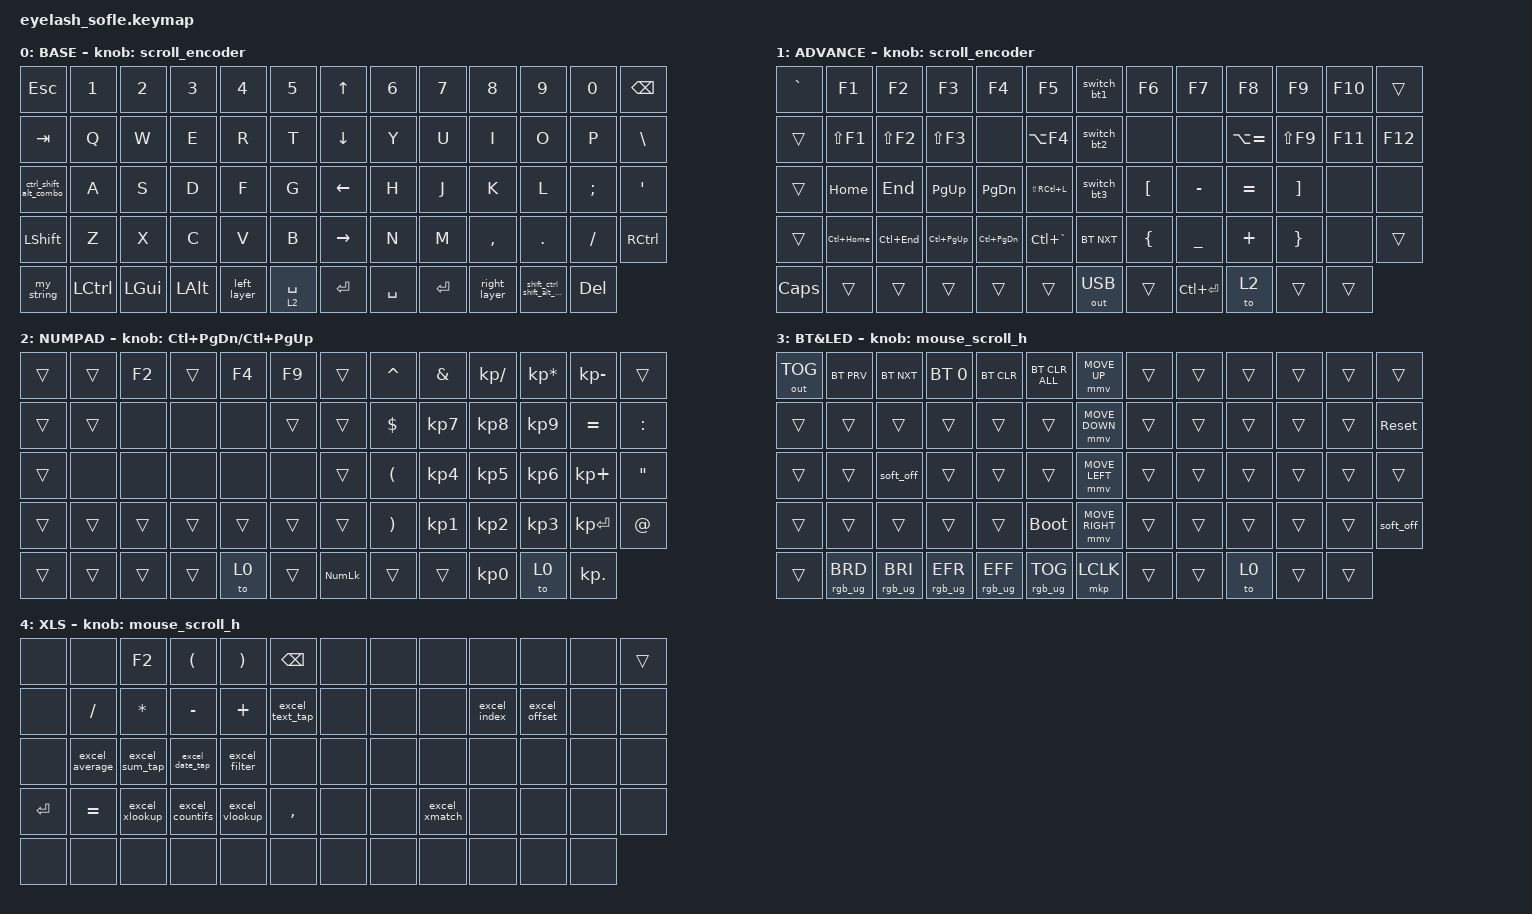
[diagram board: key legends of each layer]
#define ZMK_POINTING_DEFAULT_MOVE_VAL 1200  // 600
#define ZMK_POINTING_DEFAULT_SCRL_VAL 64   // 10

#include <input/processors.dtsi>
#include <zephyr/dt-bindings/input/input-event-codes.h>
#include <behaviors.dtsi>
#include <dt-bindings/zmk/bt.h>
#include <dt-bindings/zmk/keys.h>
#include <dt-bindings/zmk/outputs.h>
#include <dt-bindings/zmk/pointing.h>
#include <dt-bindings/zmk/rgb.h>

&mmv_input_listener { input-processors = <&zip_xy_scaler 2 1>; };

// 不用 scaler，直接发送原始值
// &msc_input_listener { input-processors = <&zip_scroll_scaler 1 1>; };

&msc {
    acceleration-exponent = <0>;      // 0
    time-to-max-speed-ms = <0>;       // 300
    delay-ms = <0>;                   // 0
    trigger-period-ms = <816>;
};

&mmv {
    time-to-max-speed-ms = <500>;
    acceleration-exponent = <1>;
    trigger-period-ms = <16>;
};

&soft_off { hold-time-ms = <2000>; };

/ {
    scroll_encoder: scroll_encoder {
        compatible = "zmk,behavior-sensor-rotate";
        #sensor-binding-cells = <0>;
        bindings = <&msc SCRL_DOWN>, <&msc SCRL_UP>;

        tap-ms = <32>;
        label = "scroll_v";
    };

    mouse_scroll_h: mouse_scroll_h {
        compatible = "zmk,behavior-sensor-rotate";
        label = "MOUSE_SCROLL_H";
        #sensor-binding-cells = <0>;
        bindings = <&msc SCRL_RIGHT>, <&msc SCRL_LEFT>;

        tap-ms = <32>;
    };

    right_layer: right_layer {
        compatible = "zmk,behavior-tap-dance";
        label = "RIGHT_LAYER";
        #binding-cells = <0>;
        bindings = <&mo 1>, <&mo 3>, <&toggle_my_computer>;

        tapping-term-ms = <400>;
    };

    ctrl_shift_alt_combo: ctrl_shift_alt_combo {
        compatible = "zmk,behavior-tap-dance";
        label = "CTRL_SHIFT_ALT_COMBO";
        #binding-cells = <0>;
        bindings = <&kp LC(LSHFT)>, <&kp LC(LEFT_ALT)>, <&kp LC(LA(LSHFT))>;

        tapping-term-ms = <400>;
    };

    left_layer: left_layer {
        compatible = "zmk,behavior-tap-dance";
        label = "LEFT_LAYER";
        #binding-cells = <0>;
        bindings = <&mo 1>, <&mo 4>, <&toggle_my_computer>;

        tapping-term-ms = <400>;
    };

    shift_ctrl_shift_alt_combo: shift_ctrl_shift_alt_combo {
        compatible = "zmk,behavior-tap-dance";
        label = "SHIFT_CTRL_SHIFT_ALT_COMBO";
        #binding-cells = <0>;
        bindings = <&kp RIGHT_SHIFT>, <&kp LC(LEFT_ALT)>, <&kp LC(LA(LSHFT))>;

        tapping-term-ms = <400>;
    };

    excel_date_tap: excel_date_tap {
        compatible = "zmk,behavior-tap-dance";
        label = "EXCEL_DATE_TAP";
        #binding-cells = <0>;
        bindings = <&excel_date>, <&excel_year>, <&excel_month>, <&excel_day>;

        tapping-term-ms = <400>;
    };

    excel_sum_tap: excel_sum_tap {
        compatible = "zmk,behavior-tap-dance";
        label = "EXCEL_SUM_TAP";
        #binding-cells = <0>;
        bindings = <&excel_sumifs>, <&excel_sumproduct>;

        tapping-term-ms = <400>;
    };

    excel_text_tap: excel_text_tap {
        compatible = "zmk,behavior-tap-dance";
        label = "EXCEL_TEXT_TAP";
        #binding-cells = <0>;
        bindings = <&excel_text>, <&excel_textjoin>, <&excel_textsplit>;

        tapping-term-ms = <350>;
    };

    behaviors {
    };

    combos {
        compatible = "zmk,combos";

        softoff {
            bindings = <&soft_off>;
            key-positions = <14 28 40>;
        };
    };

    macros {
        toggle_my_computer: toggle_my_computer {
            compatible = "zmk,behavior-macro";
            #binding-cells = <0>;
            bindings =
                <&kp LA(LS(LC(BACKSLASH)))>,
                <&macro_wait_time 300>,
                <&out OUT_TOG>;

            label = "TOGGLE_MY_COMPUTER";
        };

        my_string: pi_value {
            compatible = "zmk,behavior-macro";
            #binding-cells = <0>;
            bindings =
                <&kp Z &kp S &kp D &kp C &kp X &kp DOT &kp N1 &kp N2 &kp N1>,
                <&macro_wait_time 50>,
                <&kp ENTER>;

            label = "PI_VALUE";
        };

        switch_bt1: switch_bt1 {
            compatible = "zmk,behavior-macro";
            #binding-cells = <0>;
            bindings = <&bt BT_SEL 0 &out OUT_BLE>;
            label = "SWITCH_BT1";
        };

        switch_bt2: switch_bt2 {
            compatible = "zmk,behavior-macro";
            #binding-cells = <0>;
            bindings = <&bt BT_SEL 1 &out OUT_BLE>;
            label = "SWITCH_BT2";
        };

        switch_bt3: switch_bt3 {
            compatible = "zmk,behavior-macro";
            #binding-cells = <0>;
            bindings = <&bt BT_SEL 2 &out OUT_BLE>;
            label = "SWITCH_BT3";
        };

        excel_offset: excel_offset {
            compatible = "zmk,behavior-macro";
            #binding-cells = <0>;
            bindings = <&kp O &kp F &kp F &kp S &kp E &kp T &kp LPAR>;
            label = "EXCEL_OFFSET";
        };

        excel_sumifs: excel_sumifs {
            compatible = "zmk,behavior-macro";
            #binding-cells = <0>;
            bindings = <&kp S &kp U &kp M &kp I &kp F &kp S &kp LPAR>;
            label = "EXCEL_SUMIFS";
        };

        excel_countifs: excel_countifs {
            compatible = "zmk,behavior-macro";
            #binding-cells = <0>;
            bindings = <&kp C &kp O &kp U &kp N &kp T &kp I &kp F &kp S &kp LPAR>;
            label = "EXCEL_COUNTIFS";
        };

        excel_xmatch: excel_xmatch {
            compatible = "zmk,behavior-macro";
            #binding-cells = <0>;
            bindings = <&kp X &kp M &kp A &kp T &kp C &kp H &kp LPAR>;
            label = "EXCEL_XMATCH";
        };

        excel_vlookup: excel_vlookup {
            compatible = "zmk,behavior-macro";
            #binding-cells = <0>;
            bindings = <&kp V &kp L &kp O &kp O &kp K &kp U &kp P &kp LPAR>;
            label = "EXCEL_VLOOKUP";
        };

        excel_xlookup: excel_xlookup {
            compatible = "zmk,behavior-macro";
            #binding-cells = <0>;
            bindings = <&kp X &kp L &kp O &kp O &kp K &kp U &kp P &kp LPAR>;
            label = "EXCEL_XLOOKUP";
        };

        excel_text: excel_text {
            compatible = "zmk,behavior-macro";
            #binding-cells = <0>;
            bindings = <&kp T &kp E &kp X &kp T &kp LPAR>;
            label = "EXCEL_TEXT";
        };

        excel_textjoin: excel_textjoin {
            compatible = "zmk,behavior-macro";
            #binding-cells = <0>;
            bindings = <&kp T &kp E &kp X &kp T &kp J &kp O &kp I &kp N &kp LPAR>;
            label = "EXCEL_TEXTJOIN";
        };

        excel_date: excel_date {
            compatible = "zmk,behavior-macro";
            #binding-cells = <0>;
            bindings = <&kp D &kp A &kp T &kp E &kp LPAR>;
            label = "EXCEL_DATE";
        };

        excel_year: excel_year {
            compatible = "zmk,behavior-macro";
            #binding-cells = <0>;
            bindings = <&kp Y &kp E &kp A &kp R &kp LPAR>;
            label = "EXCEL_YEAR";
        };

        excel_month: excel_month {
            compatible = "zmk,behavior-macro";
            #binding-cells = <0>;
            bindings = <&kp M &kp O &kp N &kp T &kp H &kp LPAR>;
            label = "EXCEL_MONTH";
        };

        excel_day: excel_day {
            compatible = "zmk,behavior-macro";
            #binding-cells = <0>;
            bindings = <&kp D &kp A &kp Y &kp LPAR>;
            label = "EXCEL_DAY";
        };

        excel_sumproduct: excel_sumproduct {
            compatible = "zmk,behavior-macro";
            #binding-cells = <0>;
            bindings = <&kp S &kp U &kp M &kp P &kp R &kp O &kp D &kp U &kp C &kp T &kp LPAR>;
            label = "EXCEL_SUMPRODUCT";
        };

        excel_average: excel_average {
            compatible = "zmk,behavior-macro";
            #binding-cells = <0>;
            bindings = <&kp A &kp V &kp E &kp R &kp A &kp G &kp E &kp LPAR>;
            label = "EXCEL_AVERAGE";
        };

        excel_index: excel_index {
            compatible = "zmk,behavior-macro";
            #binding-cells = <0>;
            bindings = <&kp I &kp N &kp D &kp E &kp X &kp LPAR>;
            label = "EXCEL_INDEX";
        };

        excel_textsplit: excel_textsplit {
            compatible = "zmk,behavior-macro";
            #binding-cells = <0>;
            bindings = <&kp T &kp E &kp X &kp T &kp S &kp P &kp L &kp I &kp T &kp LPAR>;
            label = "EXCEL_TEXTSPLIT";
        };

        excel_filter: excel_filter {
            compatible = "zmk,behavior-macro";
            #binding-cells = <0>;
            bindings = <&none>;
            label = "EXCEL_FILTER";
        };
    };

    keymap {
        compatible = "zmk,keymap";

        BASE {
            bindings = <
&kp ESC                &kp N1     &kp N2        &kp N3        &kp N4       &kp N5         &kp UP_ARROW     &kp N6     &kp N7     &kp N8        &kp N9                       &kp N0      &kp BACKSPACE
&kp TAB                &kp Q      &kp W         &kp E         &kp R        &kp T          &kp DOWN_ARROW   &kp Y      &kp U      &kp I         &kp O                        &kp P       &kp BSLH
&ctrl_shift_alt_combo  &kp A      &kp S         &kp D         &kp F        &kp G          &kp LEFT_ARROW   &kp H      &kp J      &kp K         &kp L                        &kp SEMI    &kp APOS
&kp LSHFT              &kp Z      &kp X         &kp C         &kp V        &kp B          &kp RIGHT_ARROW  &kp N      &kp M      &kp COMMA     &kp DOT                      &kp FSLH    &kp RCTRL
&my_string             &kp LCTRL  &kp LEFT_GUI  &kp LEFT_ALT  &left_layer  &lt 2 SPACE    &kp ENTER        &kp SPACE  &kp ENTER  &right_layer  &shift_ctrl_shift_alt_combo  &kp DELETE
            >;

            sensor-bindings = <&scroll_encoder>;
            display-name = "BASE";
        };

        ADVANCE {
            bindings = <
&kp GRAVE  &kp F1        &kp F2       &kp F3         &kp F4         &kp F5           &switch_bt1   &kp F6            &kp F7          &kp F8         &kp F9             &kp F10  &trans
&trans     &kp LS(F1)    &kp LS(F2)   &kp LS(F3)     &none          &kp LA(F4)       &switch_bt2   &none             &none           &kp LA(EQUAL)  &kp LS(F9)         &kp F11  &kp F12
&trans     &kp HOME      &kp END      &kp PG_UP      &kp PG_DN      &kp LS(RC(L))    &switch_bt3   &kp LEFT_BRACKET  &kp MINUS       &kp EQUAL      &kp RIGHT_BRACKET  &none    &none
&trans     &kp LC(HOME)  &kp LC(END)  &kp LC(PG_UP)  &kp LC(PG_DN)  &kp LC(GRAVE)    &bt BT_NXT    &kp LEFT_BRACE    &kp UNDERSCORE  &kp PLUS       &kp RIGHT_BRACE    &none    &trans
&kp CAPS   &trans        &trans       &trans         &trans         &trans           &out OUT_USB  &trans            &kp LC(ENTER)   &to 2          &trans             &trans
            >;

            display-name = "ADVANCE";
            sensor-bindings = <&scroll_encoder>;
        };

        NUMPAD {
            bindings = <
&trans  &trans  &kp F2  &trans  &kp F4  &kp F9    &trans          &kp CARET              &kp AMPERSAND    &kp KP_SLASH     &kp KP_MULTIPLY  &kp KP_MINUS  &trans
&trans  &trans  &none   &none   &none   &trans    &trans          &kp DOLLAR             &kp KP_NUMBER_7  &kp KP_NUMBER_8  &kp KP_NUMBER_9  &kp EQUAL     &kp COLON
&trans  &none   &none   &none   &none   &none     &trans          &kp LEFT_PARENTHESIS   &kp KP_NUMBER_4  &kp KP_NUMBER_5  &kp KP_NUMBER_6  &kp KP_PLUS   &kp DOUBLE_QUOTES
&trans  &trans  &trans  &trans  &trans  &trans    &trans          &kp RIGHT_PARENTHESIS  &kp KP_NUMBER_1  &kp KP_NUMBER_2  &kp KP_NUMBER_3  &kp KP_ENTER  &kp AT_SIGN
&trans  &trans  &trans  &trans  &to 0   &trans    &kp KP_NUMLOCK  &trans                 &trans           &kp KP_NUMBER_0  &to 0            &kp KP_DOT
            >;

            sensor-bindings = <&inc_dec_kp LC(PAGE_DOWN) LC(PAGE_UP)>;
            label = "NUMPAD";
        };

        DEVICE {
            bindings = <
&out OUT_TOG  &bt BT_PRV       &bt BT_NXT       &bt BT_SEL 0     &bt BT_CLR       &bt BT_CLR_ALL     &mmv MOVE_UP     &trans  &trans  &trans  &trans  &trans  &trans
&trans        &trans           &trans           &trans           &trans           &trans             &mmv MOVE_DOWN   &trans  &trans  &trans  &trans  &trans  &sys_reset
&trans        &trans           &soft_off        &trans           &trans           &trans             &mmv MOVE_LEFT   &trans  &trans  &trans  &trans  &trans  &trans
&trans        &trans           &trans           &trans           &trans           &bootloader        &mmv MOVE_RIGHT  &trans  &trans  &trans  &trans  &trans  &soft_off
&trans        &rgb_ug RGB_BRD  &rgb_ug RGB_BRI  &rgb_ug RGB_EFR  &rgb_ug RGB_EFF  &rgb_ug RGB_TOG    &mkp LCLK        &trans  &trans  &to 0   &trans  &trans
            >;

            sensor-bindings = <&mouse_scroll_h>;
            label = "BT&LED";
        };

        XLS {
            bindings = <
&none      &none           &kp F2          &kp LEFT_PARENTHESIS  &kp RIGHT_PARENTHESIS  &kp BACKSPACE      &none  &none  &none          &none         &none          &none  &trans
&none      &kp SLASH       &kp ASTERISK    &kp MINUS             &kp PLUS               &excel_text_tap    &none  &none  &none          &excel_index  &excel_offset  &none  &none
&none      &excel_average  &excel_sum_tap  &excel_date_tap       &excel_filter          &none              &none  &none  &none          &none         &none          &none  &none
&kp ENTER  &kp EQUAL       &excel_xlookup  &excel_countifs       &excel_vlookup         &kp COMMA          &none  &none  &excel_xmatch  &none         &none          &none  &none
&none      &none           &none           &none                 &none                  &none              &none  &none  &none          &none         &none          &none
            >;

            label = "XLS";
            sensor-bindings = <&mouse_scroll_h>;
        };
    };
};
